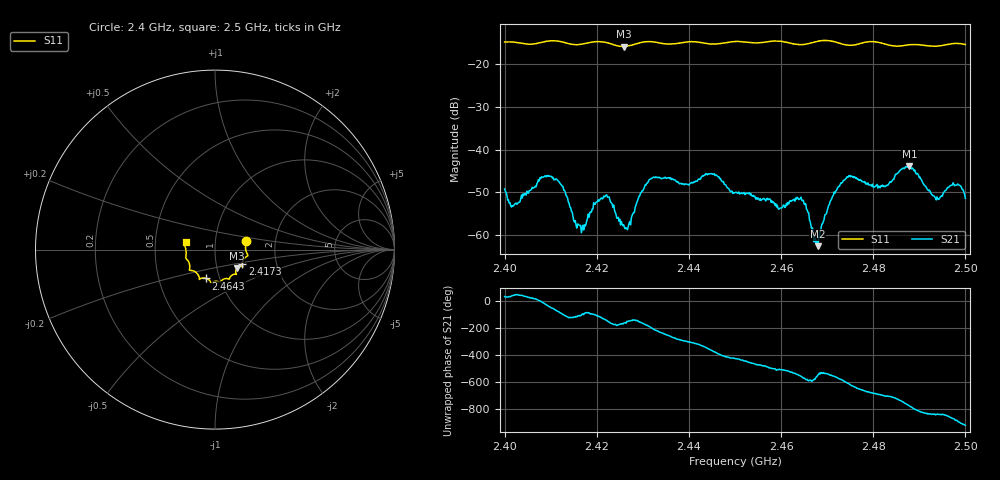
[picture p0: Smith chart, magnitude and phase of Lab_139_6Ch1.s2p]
# Hz S RI R 50
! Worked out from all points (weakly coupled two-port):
!   601 points, 2.4 GHz to 2.5 GHz, reference 50 ohm
!   highest |S21| = -43.85 dB at 2.4878 GHz (marker M1); lowest = -62.5 dB at 2.468 GHz (marker M2)
!   lowest |S11| = -15.9 dB at 2.4258 GHz (marker M3), VSWR 1.38, Z = 62.3 - j13.2 ohm
!   |S11| at or under -10 dB: start of sweep to end of sweep
!   S12 and S22 are empty: the file has one direction only
!   S11 on the Smith chart (normalised r, x): 2.4 GHz: 1.41, +0.15; 2.4173 GHz: 1.34, -0.23; 2.4643 GHz: 0.86, -0.28; 2.5 GHz: 0.72, +0.06
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2.4e9  0.1733 0.0498  0.00304 0.00168  0 0  0 0
2.401833e9  0.1754 0.0422  0.00174 0.00131  0 0  0 0
2.41e9  0.1838 -0.0324  0.003 -0.00387  0 0  0 0
2.416667e9  0.1529 -0.0748  -0.000341 -0.00102  0 0  0 0
2.417333e9  0.1523 -0.0822  -9.07e-05 -0.00132  0 0  0 0
2.422e9  0.1516 -0.0943  -0.00238 -0.00172  0 0  0 0
2.425833e9  0.1216 -0.1036  -0.00129 -0.000307  0 0  0 0
2.431e9  0.1196 -0.138  -0.00406 0.000234  0 0  0 0
2.433333e9  0.1128 -0.1368  -0.00321 0.00342  0 0  0 0
2.445e9  0.0554 -0.1618  0.00517 -0.000955  0 0  0 0
2.45e9  0.0297 -0.1808  0.0011 -0.00295  0 0  0 0
2.459833e9  -0.0233 -0.1834  -0.00183 -0.000991  0 0  0 0
2.464333e9  -0.0502 -0.1605  -0.0026 0.000991  0 0  0 0
2.466667e9  -0.0762 -0.1598  -0.000612 0.001  0 0  0 0
2.468e9  -0.0847 -0.1642  -0.000732 0.000142  0 0  0 0
2.471e9  -0.0869 -0.1631  -0.00258 0.000741  0 0  0 0
2.474333e9  -0.1005 -0.1324  -0.00175 0.00451  0 0  0 0
2.483333e9  -0.1408 -0.0895  0.00388 0.000765  0 0  0 0
2.487833e9  -0.1597 -0.0516  0.00323 -0.00554  0 0  0 0
2.493833e9  -0.1616 -0.00349  -0.0015 -0.00238  0 0  0 0
2.497333e9  -0.1709 0.0283  -0.00367 -0.00185  0 0  0 0
2.5e9  -0.1635 0.0422  -0.00246 0.0011  0 0  0 0
